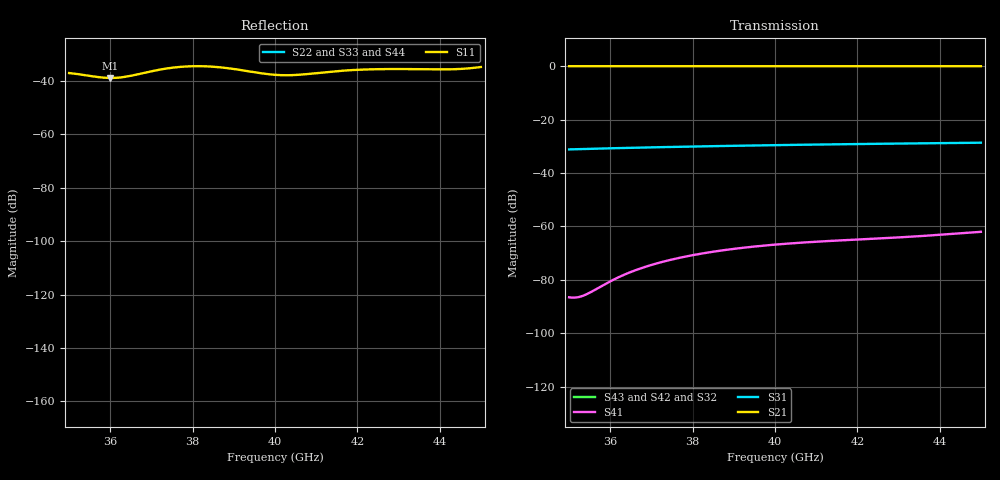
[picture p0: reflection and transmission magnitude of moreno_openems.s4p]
! Moreno cross-guide coupler, openEMS FDTD
! only column 1 (port 1 excited) and, by reciprocity, row 1 are simulated; other entries are zero
! S-parameters are normalised to each port's TE10 wave impedance (generalised
! S-matrix); 'R 50' below is only the placeholder the format requires.
! Reference planes: edges of the common a x a square.
# GHz S MA R 50
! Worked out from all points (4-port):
!   201 points, 35 GHz to 45 GHz, reference 50 ohm
!   strongest paths, dB at 35 GHz, 37.5 GHz, 40 GHz, 42.5 GHz, 45 GHz:
!     S21: 0.0, 0.0, 0.0, 0.0, 0.0
!     S31: -31.2, -30.2, -29.6, -29.1, -28.7
!     S41: -86.6, -72.4, -66.8, -64.5, -62.0
!     S43: -, -, -, -, -
!     S42: -, -, -, -, -
!     S32: -, -, -, -, -
!   lowest |S11| = -38.9 dB at 36 GHz (marker M1), VSWR 1.02, Z = 49.6 + j1.04 ohm
!   |S11| at or under -10 dB: start of sweep to end of sweep
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35  0.01408 31.0  0.9996 -160.6  0.02763 109.4  4.703e-05 -103.5
    0.9996 -160.6  0 0.0  0 0.0  0 0.0
    0.02763 109.4  0 0.0  0 0.0  0 0.0
    4.703e-05 -103.5  0 0.0  0 0.0  0 0.0
36  0.0114 112.7  1 -171.2  0.02899 98.9  9.368e-05 164.7
    1 -171.2  0 0.0  0 0.0  0 0.0
    0.02899 98.9  0 0.0  0 0.0  0 0.0
    9.368e-05 164.7  0 0.0  0 0.0  0 0.0
37.7  0.01837 -123.6  0.9995 171.6  0.03097 81.6  0.00026 112.9
      0.9995 171.6  0 0.0  0 0.0  0 0.0
      0.03097 81.6  0 0.0  0 0.0  0 0.0
      0.00026 112.9  0 0.0  0 0.0  0 0.0
38.9  0.01719 -61.0  0.9993 159.9  0.03219 69.9  0.0003711 89.5
      0.9993 159.9  0 0.0  0 0.0  0 0.0
      0.03219 69.9  0 0.0  0 0.0  0 0.0
      0.0003711 89.5  0 0.0  0 0.0  0 0.0
40.3  0.01282 38.6  0.9995 146.5  0.03348 56.6  0.0004754 66.8
      0.9995 146.5  0 0.0  0 0.0  0 0.0
      0.03348 56.6  0 0.0  0 0.0  0 0.0
      0.0004754 66.8  0 0.0  0 0.0  0 0.0
42.7  0.01673 -165.4  0.9994 124.1  0.03534 34.1  0.0006041 37.1
      0.9994 124.1  0 0.0  0 0.0  0 0.0
      0.03534 34.1  0 0.0  0 0.0  0 0.0
      0.0006041 37.1  0 0.0  0 0.0  0 0.0
45  0.01829 -21.0  0.9994 103.2  0.03689 13.2  0.0007913 7.7
    0.9994 103.2  0 0.0  0 0.0  0 0.0
    0.03689 13.2  0 0.0  0 0.0  0 0.0
    0.0007913 7.7  0 0.0  0 0.0  0 0.0
